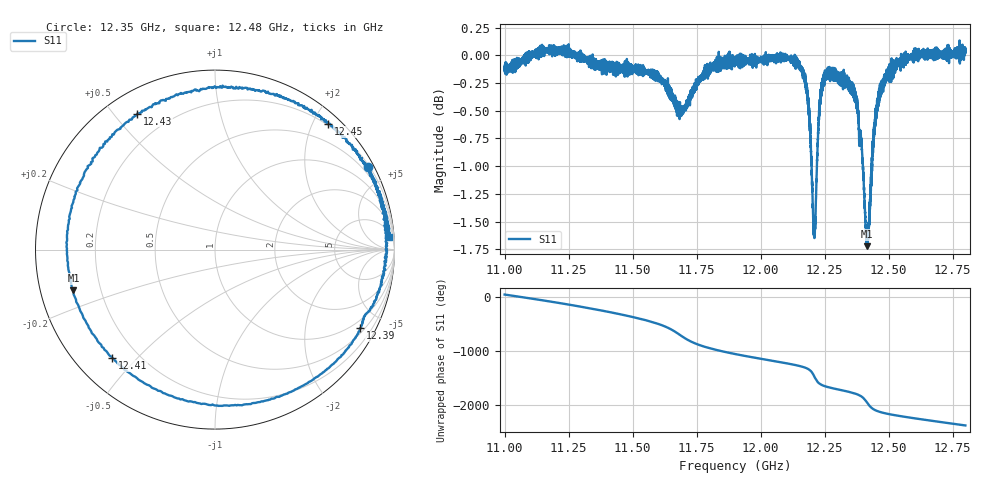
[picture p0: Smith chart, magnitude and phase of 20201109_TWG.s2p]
!Agilent Technologies,N5230C,MY48100395,A.09.33.09
!Agilent N5230C: A.09.33.09
!Date: Monday, November 09, 2020 14:38:01
!Correction: S11(Full 1 Port(1))
!S21(Off)
!S12(Off)
!S22(Off)
!S2P File: Measurements: S11, S21, S12, S22:
# Hz S  dB  R 50
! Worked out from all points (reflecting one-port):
!   16001 points, 11 GHz to 12.8 GHz, reference 50 ohm
!   lowest |S11| = -1.7 dB at 12.42 GHz (marker M1), VSWR 10.12, Z = 5.04 - j6.95 ohm
!   phase of S11 starts at 41 deg and turns -2425 deg over the sweep
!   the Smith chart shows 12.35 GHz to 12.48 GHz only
!   S11 on the Smith chart (normalised r, x): 12.35 GHz: 0.27, +3.91; 12.39 GHz: 0.68, -3.84; 12.41 GHz: 0.11, -0.43; 12.43 GHz: 0.09, +0.58; 12.45 GHz: 0.18, +2.23; 12.48 GHz: 10, +25
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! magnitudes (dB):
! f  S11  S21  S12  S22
! 11 GHz  -0.1  -  -  -
! 11.3 GHz  0.0  -  -  -
! 11.6 GHz  -0.2  -  -  -
! 11.69 GHz  -0.5  -  -  -
! 11.79 GHz  -0.2  -  -  -
! 11.9 GHz  0.0  -  -  -
! 12.15 GHz  -0.1  -  -  -
! 12.18 GHz  -0.4  -  -  -
! 12.2 GHz  -1.1  -  -  -
! 12.21 GHz  -1.6  -  -  -
! 12.21 GHz  -1.6  -  -  -
! 12.23 GHz  -0.4  -  -  -
! 12.25 GHz  -0.2  -  -  -
! 12.35 GHz  -0.3  -  -  -
! 12.39 GHz  -0.7  -  -  -
! 12.41 GHz  -1.6  -  -  -
! 12.42 GHz  -1.7  -  -  -
! 12.43 GHz  -1.2  -  -  -
! 12.45 GHz  -0.5  -  -  -
! 12.48 GHz  -0.2  -  -  -
! 12.5 GHz  -0.2  -  -  -
! 12.8 GHz  0.0  -  -  -
